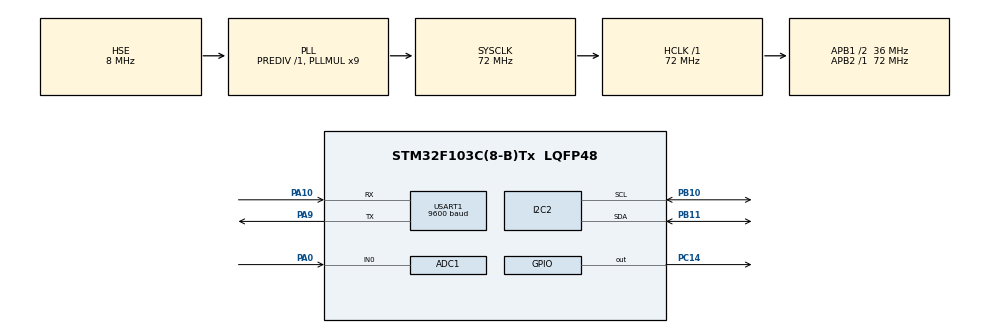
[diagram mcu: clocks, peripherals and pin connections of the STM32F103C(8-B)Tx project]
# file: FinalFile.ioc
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ADC1.Channel-0\#ChannelRegularConversion=ADC_CHANNEL_0
ADC1.ContinuousConvMode=ENABLE
ADC1.NbrOfConversionFlag=1
ADC1.Rank-0\#ChannelRegularConversion=1
ADC1.SamplingTime-0\#ChannelRegularConversion=ADC_SAMPLETIME_239CYCLES_5
ADC1.master=1
Mcu.Family=STM32F1
Mcu.Name=STM32F103C(8-B)Tx
Mcu.Package=LQFP48
NVIC.ADC1_2_IRQn=true\:0\:0\:false\:false\:true\:true\:true
NVIC.PriorityGroup=NVIC_PRIORITYGROUP_4
NVIC.USART1_IRQn=true\:0\:0\:false\:false\:true\:true\:true
PA0-WKUP.Signal=ADCx_IN0
PA10.Mode=Asynchronous
PA10.Signal=USART1_RX
PA13.Mode=Serial_Wire
PA13.Signal=SYS_JTMS-SWDIO
PA14.Mode=Serial_Wire
PA14.Signal=SYS_JTCK-SWCLK
PA9.Mode=Asynchronous
PA9.Signal=USART1_TX
PB10.Mode=I2C
PB10.Signal=I2C2_SCL
PB11.Mode=I2C
PB11.Signal=I2C2_SDA
PC14-OSC32_IN.Signal=GPIO_Output
PD0-OSC_IN.Mode=HSE-External-Oscillator
PD0-OSC_IN.Signal=RCC_OSC_IN
PD1-OSC_OUT.Mode=HSE-External-Oscillator
PD1-OSC_OUT.Signal=RCC_OSC_OUT
ProjectManager.HeapSize=0x200
ProjectManager.StackSize=0x400
ProjectManager.TargetToolchain=MDK-ARM V5.27
RCC.ADCPresc=RCC_ADCPCLK2_DIV6
RCC.AHBFreq_Value=72000000
RCC.APB1CLKDivider=RCC_HCLK_DIV2
RCC.APB1Freq_Value=36000000
RCC.APB1TimFreq_Value=72000000
RCC.APB2Freq_Value=72000000
RCC.APB2TimFreq_Value=72000000
RCC.HCLKFreq_Value=72000000
RCC.PLLMUL=RCC_PLL_MUL9
RCC.PLLSourceVirtual=RCC_PLLSOURCE_HSE
RCC.SYSCLKFreq_VALUE=72000000
RCC.SYSCLKSource=RCC_SYSCLKSOURCE_PLLCLK
RCC.USBFreq_Value=72000000
SH.ADCx_IN0.0=ADC1_IN0,IN0
TIM2.Period=3
TIM2.Prescaler=17
USART1.BaudRate=9600
USART1.VirtualMode=VM_ASYNC
VP_TIM2_VS_ClockSourceINT.Mode=Internal
board=custom

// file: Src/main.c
#include "main.h"

/* USER CODE BEGIN Includes */
#include "string.h"
#include "stdio.h"
#include "math.h"
/* USER CODE END Includes */

ADC_HandleTypeDef hadc1;

I2C_HandleTypeDef hi2c2;

TIM_HandleTypeDef htim2;

UART_HandleTypeDef huart1;

/* USER CODE BEGIN PV */
char a[4];
float soil,temp,humid,lux;
/*Lux variable*/
uint8_t data[2];
/*DHT variable*/
char byte[5];
char Response,x;
/* USER CODE END PV */

void SystemClock_Config(void);
static void MX_GPIO_Init(void);
static void MX_ADC1_Init(void);
static void MX_TIM2_Init(void);
static void MX_USART1_UART_Init(void);
static void MX_I2C2_Init(void);
/* USER CODE BEGIN PFP */
void delay_us (uint16_t time);
void Set_Pin_Input (GPIO_TypeDef *GPIOx, uint16_t GPIO_Pin);
void Set_Pin_Output (GPIO_TypeDef *GPIOx, uint16_t GPIO_Pin);
void float2Bytes(char* bytes_array,float val);
void senddata(void);
/*------------------------------------------*/
uint8_t read_soil(uint8_t times);
void MAX44009_start(void);
float MAX44009_read(void);
void DHT_start(void);
char DHT_check(void);
char DHT_Byte(void);
void DHT_readByte(void);
void DHT11(void);
/* USER CODE END PFP */

/* USER CODE BEGIN 0 */
void delay_us (uint16_t time)
{
  HAL_TIM_Base_Start(&htim2);
  for(;time>0; time--)
	{
      TIM2->CNT=0;
      while( TIM2->CNT != htim2.Init.Period );
  }
}
void Set_Pin_Input(GPIO_TypeDef *GPIOx, uint16_t GPIO_Pin)
{
	GPIO_InitTypeDef GPIO_InitStruct = {0};
	GPIO_InitStruct.Pin = GPIO_Pin;
	GPIO_InitStruct.Mode = GPIO_MODE_INPUT;
	GPIO_InitStruct.Pull = GPIO_PULLUP;
	HAL_GPIO_Init(GPIOx, &GPIO_InitStruct);
}
void Set_Pin_Output (GPIO_TypeDef *GPIOx, uint16_t GPIO_Pin)
{
	GPIO_InitTypeDef GPIO_InitStruct = {0};
	GPIO_InitStruct.Pin = GPIO_Pin;
	GPIO_InitStruct.Mode = GPIO_MODE_OUTPUT_PP;
	GPIO_InitStruct.Speed = GPIO_SPEED_FREQ_HIGH;
	HAL_GPIO_Init(GPIOx, &GPIO_InitStruct);
}
void float2Bytes(char* bytes_array,float val)
{
    union
			{
        float float_variable;
        char temp_array[4];
      }u;
   u.float_variable = val;
   memcpy(bytes_array,u.temp_array,4);
}
void senddata(void)
{
	DHT11();
	temp=(float)byte[2]+(float)byte[3]/10;;
	float2Bytes(&a[0],temp);
	HAL_UART_Transmit(&huart1,(uint8_t*)a,4,1000);
	humid=(float)byte[0]+(float)byte[1]/10;
	float2Bytes(&a[0],humid);
	HAL_UART_Transmit(&huart1,(uint8_t*)a,4,1000);
	soil=read_soil(10);
	float2Bytes(&a[0],soil);
	HAL_UART_Transmit(&huart1,(uint8_t*)a,4,1000);
	lux=MAX44009_read();
	float2Bytes(&a[0],lux);
	HAL_UART_Transmit(&huart1,(uint8_t*)a,4,1000);
}
/* USER CODE END 0 */

int main(void)
{

  /* MCU Configuration--------------------------------------------------------*/

  /* Reset of all peripherals, Initializes the Flash interface and the Systick. */
  HAL_Init();

  /* Configure the system clock */
  SystemClock_Config();

  /* Initialize all configured peripherals */
  MX_GPIO_Init();
  MX_ADC1_Init();
  MX_TIM2_Init();
  MX_USART1_UART_Init();
  MX_I2C2_Init();
  /* USER CODE BEGIN 2 */
  HAL_ADC_Start(&hadc1);
  /* USER CODE END 2 */

  /* Infinite loop */
  /* USER CODE BEGIN WHILE */
  while (1)
  {
		senddata();
		HAL_Delay(1000);
    /* USER CODE END WHILE */

    /* USER CODE BEGIN 3 */
  }
}
/* -----------------Soil Functions---------------------------------------*/
uint8_t read_soil(uint8_t times)
{
	uint16_t raw=0;
	for(uint8_t t=1;t<=times;t++)
	{
		raw +=HAL_ADC_GetValue(&hadc1);
		HAL_Delay(10);
	}
	return ((raw*100)/(times*4096));
}
/* -----------------MAX44009 Functions---------------------------------------*/
void MAX44009_start(void)
{
  uint8_t Tx1=0x03;
	HAL_I2C_Master_Transmit(&hi2c2,0x94,&Tx1,1,500);
	HAL_I2C_Master_Receive(&hi2c2,0x94,&data[0],1,500);
	uint8_t Tx2=0x04;
	HAL_I2C_Master_Transmit(&hi2c2,0x94,&Tx2,1,500);
	HAL_I2C_Master_Receive(&hi2c2,0x94,&data[1],1,500);
}
float MAX44009_read(void)
{
	MAX44009_start();
	HAL_Delay(800);
	uint8_t exponent = (data[0] & 0xF0) >> 4;
	uint8_t mantissa = ((data[0] & 0x0F) << 4) | (data[1] & 0x0F);
	float luminance = pow(2, exponent) * mantissa * 0.045;
	return luminance;
}
/*------------------DHT Functions--------------------------------------------*/
void DHT_start(void)//khoi dong dht
{
	Set_Pin_Output(GPIOB,GPIO_PIN_14);
	HAL_GPIO_WritePin(GPIOB,GPIO_PIN_14,GPIO_PIN_RESET);
	delay_us(25000);
  HAL_GPIO_WritePin(GPIOB,GPIO_PIN_14,GPIO_PIN_SET);
	Set_Pin_Input(GPIOB,GPIO_PIN_14);
}
char DHT_check(void)//check ket noi
{
  uint8_t Response=0;
	delay_us(40);
	if((HAL_GPIO_ReadPin(GPIOB,GPIO_PIN_14))==0)
	{
		delay_us(80);
		if((HAL_GPIO_ReadPin(GPIOB,GPIO_PIN_14))==1)
			{Response =1;}
		else
			{Response =0;}
	}
	while((HAL_GPIO_ReadPin(GPIOB,GPIO_PIN_14))==1);
	return Response;
}
char DHT_Byte(void)// doc byte dht
{
	uint8_t i,j;
	for (j=0;j<8;j++)
	{
		while (!(HAL_GPIO_ReadPin (GPIOB,GPIO_PIN_14)));   // wait for the pin to go high
		delay_us(50);   // wait for 40 us
		if ((HAL_GPIO_ReadPin (GPIOB,GPIO_PIN_14))==0)   // if the pin is low
		{
			i&= ~(1<<(7-j));   // write 0
		}
		else i|= (1<<(7-j));  // if the pin is high, write 1
		while ((HAL_GPIO_ReadPin (GPIOB,GPIO_PIN_14))==1);  // wait for the pin to go low
	}
	return i;
}
void DHT_ReadByte(void)
{
    for(uint8_t i=0;i<5;i++)
    {
      byte[i]=DHT_Byte();
    }
}
void DHT11(void)
{
	 DHT_start();
	 Response=DHT_check();
	 DHT_ReadByte();
}
  /* USER CODE END 3 */

void SystemClock_Config(void)
{
  RCC_OscInitTypeDef RCC_OscInitStruct = {0};
  RCC_ClkInitTypeDef RCC_ClkInitStruct = {0};
  RCC_PeriphCLKInitTypeDef PeriphClkInit = {0};

  /** Initializes the CPU, AHB and APB busses clocks
  */
  RCC_OscInitStruct.OscillatorType = RCC_OSCILLATORTYPE_HSE;
  RCC_OscInitStruct.HSEState = RCC_HSE_ON;
  RCC_OscInitStruct.HSEPredivValue = RCC_HSE_PREDIV_DIV1;
  RCC_OscInitStruct.HSIState = RCC_HSI_ON;
  RCC_OscInitStruct.PLL.PLLState = RCC_PLL_ON;
  RCC_OscInitStruct.PLL.PLLSource = RCC_PLLSOURCE_HSE;
  RCC_OscInitStruct.PLL.PLLMUL = RCC_PLL_MUL9;
  if (HAL_RCC_OscConfig(&RCC_OscInitStruct) != HAL_OK)
  {
    Error_Handler();
  }
  /** Initializes the CPU, AHB and APB busses clocks
  */
  RCC_ClkInitStruct.ClockType = RCC_CLOCKTYPE_HCLK|RCC_CLOCKTYPE_SYSCLK
                              |RCC_CLOCKTYPE_PCLK1|RCC_CLOCKTYPE_PCLK2;
  RCC_ClkInitStruct.SYSCLKSource = RCC_SYSCLKSOURCE_PLLCLK;
  RCC_ClkInitStruct.AHBCLKDivider = RCC_SYSCLK_DIV1;
  RCC_ClkInitStruct.APB1CLKDivider = RCC_HCLK_DIV2;
  RCC_ClkInitStruct.APB2CLKDivider = RCC_HCLK_DIV1;

  if (HAL_RCC_ClockConfig(&RCC_ClkInitStruct, FLASH_LATENCY_2) != HAL_OK)
  {
    Error_Handler();
  }
  PeriphClkInit.PeriphClockSelection = RCC_PERIPHCLK_ADC;
  PeriphClkInit.AdcClockSelection = RCC_ADCPCLK2_DIV6;
  if (HAL_RCCEx_PeriphCLKConfig(&PeriphClkInit) != HAL_OK)
  {
    Error_Handler();
  }
}

static void MX_ADC1_Init(void)
{

  ADC_ChannelConfTypeDef sConfig = {0};

  /** Common config
  */
  hadc1.Instance = ADC1;
  hadc1.Init.ScanConvMode = ADC_SCAN_DISABLE;
  hadc1.Init.ContinuousConvMode = ENABLE;
  hadc1.Init.DiscontinuousConvMode = DISABLE;
  hadc1.Init.ExternalTrigConv = ADC_SOFTWARE_START;
  hadc1.Init.DataAlign = ADC_DATAALIGN_RIGHT;
  hadc1.Init.NbrOfConversion = 1;
  if (HAL_ADC_Init(&hadc1) != HAL_OK)
  {
    Error_Handler();
  }
  /** Configure Regular Channel
  */
  sConfig.Channel = ADC_CHANNEL_0;
  sConfig.Rank = ADC_REGULAR_RANK_1;
  sConfig.SamplingTime = ADC_SAMPLETIME_239CYCLES_5;
  if (HAL_ADC_ConfigChannel(&hadc1, &sConfig) != HAL_OK)
  {
    Error_Handler();
  }

}

static void MX_I2C2_Init(void)
{

  hi2c2.Instance = I2C2;
  hi2c2.Init.ClockSpeed = 100000;
  hi2c2.Init.DutyCycle = I2C_DUTYCYCLE_2;
  hi2c2.Init.OwnAddress1 = 0;
  hi2c2.Init.AddressingMode = I2C_ADDRESSINGMODE_7BIT;
  hi2c2.Init.DualAddressMode = I2C_DUALADDRESS_DISABLE;
  hi2c2.Init.OwnAddress2 = 0;
  hi2c2.Init.GeneralCallMode = I2C_GENERALCALL_DISABLE;
  hi2c2.Init.NoStretchMode = I2C_NOSTRETCH_DISABLE;
  if (HAL_I2C_Init(&hi2c2) != HAL_OK)
  {
    Error_Handler();
  }

}

static void MX_TIM2_Init(void)
{

  TIM_ClockConfigTypeDef sClockSourceConfig = {0};
  TIM_MasterConfigTypeDef sMasterConfig = {0};

  htim2.Instance = TIM2;
  htim2.Init.Prescaler = 17;
  htim2.Init.CounterMode = TIM_COUNTERMODE_UP;
  htim2.Init.Period = 3;
  htim2.Init.ClockDivision = TIM_CLOCKDIVISION_DIV1;
  htim2.Init.AutoReloadPreload = TIM_AUTORELOAD_PRELOAD_DISABLE;
  if (HAL_TIM_Base_Init(&htim2) != HAL_OK)
  {
    Error_Handler();
  }
  sClockSourceConfig.ClockSource = TIM_CLOCKSOURCE_INTERNAL;
  if (HAL_TIM_ConfigClockSource(&htim2, &sClockSourceConfig) != HAL_OK)
  {
    Error_Handler();
  }
  sMasterConfig.MasterOutputTrigger = TIM_TRGO_RESET;
  sMasterConfig.MasterSlaveMode = TIM_MASTERSLAVEMODE_DISABLE;
  if (HAL_TIMEx_MasterConfigSynchronization(&htim2, &sMasterConfig) != HAL_OK)
  {
    Error_Handler();
  }

}

static void MX_USART1_UART_Init(void)
{

  huart1.Instance = USART1;
  huart1.Init.BaudRate = 9600;
  huart1.Init.WordLength = UART_WORDLENGTH_8B;
  huart1.Init.StopBits = UART_STOPBITS_1;
  huart1.Init.Parity = UART_PARITY_NONE;
  huart1.Init.Mode = UART_MODE_TX_RX;
  huart1.Init.HwFlowCtl = UART_HWCONTROL_NONE;
  huart1.Init.OverSampling = UART_OVERSAMPLING_16;
  if (HAL_UART_Init(&huart1) != HAL_OK)
  {
    Error_Handler();
  }

}

static void MX_GPIO_Init(void)
{
  GPIO_InitTypeDef GPIO_InitStruct = {0};

  /* GPIO Ports Clock Enable */
  __HAL_RCC_GPIOC_CLK_ENABLE();
  __HAL_RCC_GPIOD_CLK_ENABLE();
  __HAL_RCC_GPIOA_CLK_ENABLE();
  __HAL_RCC_GPIOB_CLK_ENABLE();

  /*Configure GPIO pin Output Level */
  HAL_GPIO_WritePin(GPIOC, GPIO_PIN_14, GPIO_PIN_RESET);

  /*Configure GPIO pin : PC14 */
  GPIO_InitStruct.Pin = GPIO_PIN_14;
  GPIO_InitStruct.Mode = GPIO_MODE_OUTPUT_PP;
  GPIO_InitStruct.Pull = GPIO_NOPULL;
  GPIO_InitStruct.Speed = GPIO_SPEED_FREQ_LOW;
  HAL_GPIO_Init(GPIOC, &GPIO_InitStruct);

}

void Error_Handler(void)
{
}

/************************ (C) COPYRIGHT STMicroelectronics *****END OF FILE****/
